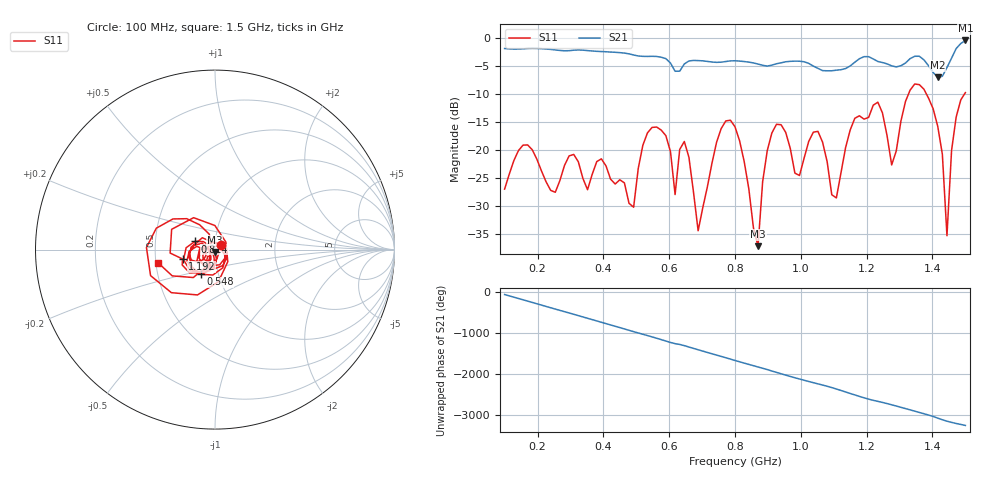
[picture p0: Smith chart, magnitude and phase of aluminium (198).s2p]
! NanoVNA-App
! Date: 2025-09-25 14:56:49
! Start: 100MHz Stop: 1,5GHz Points: 101
! S-Parameter data: F S11 S21 S12 S22
# Hz S RI R 50
!  Frequency  S11_Real  S11_Imag  S21_Real  S21_Imag  S12_Real  S12_Imag  S22_Real  S22_Imag
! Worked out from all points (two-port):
!   101 points, 100 MHz to 1.5 GHz, reference 50 ohm
!   highest |S21| = -0.49 dB at 1.5 GHz (marker M1); lowest = -7.1 dB at 1.416 GHz (marker M2)
!   |S21| within 3 dB of the highest: start of sweep to 576.6 MHz; 1.459 GHz to end of sweep (the widest 2 of 4)
!   lowest |S11| = -37.1 dB at 870 MHz (marker M3), VSWR 1.03, Z = 49.9 - j1.39 ohm
!   |S11| at or under -10 dB: start of sweep to 1.327 GHz; 1.381 GHz to 1.498 GHz (116.2 MHz wide, 8.07 % of centre)
!   S12 and S22 are empty: the file has one direction only
!   S11 on the Smith chart (normalised r, x): 100 MHz: 1.07, +0.06; 548 MHz: 0.82, -0.23; 814 MHz: 0.80, +0.07; 1.192 GHz: 0.69, -0.08; 1.5 GHz: 0.51, -0.09
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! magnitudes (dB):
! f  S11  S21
! 100 MHz  -27.0  -1.9
! 338 MHz  -25.1  -2.2
! 492 MHz  -30.2  -3.1
! 548 MHz  -16.0  -3.3
! 576 MHz  -16.5  -3.5
! 618 MHz  -27.9  -6.0
! 646 MHz  -18.5  -4.7
! 688 MHz  -34.4  -4.1
! 800 MHz  -15.9  -4.1
! 814 MHz  -18.4  -4.2
! 870 MHz  -37.1  -4.7
! 912 MHz  -17.0  -4.9
! 996 MHz  -24.5  -4.2
! 1.038 GHz  -16.8  -5.1
! 1.108 GHz  -28.5  -5.8
! 1.192 GHz  -14.5  -3.4
! 1.276 GHz  -22.6  -5.0
! 1.346 GHz  -8.2  -3.3
! 1.416 GHz  -15.8  -7.1
! 1.444 GHz  -35.3  -5.3
! 1.458 GHz  -20.1  -3.6
! 1.5 GHz  -9.8  -0.5
